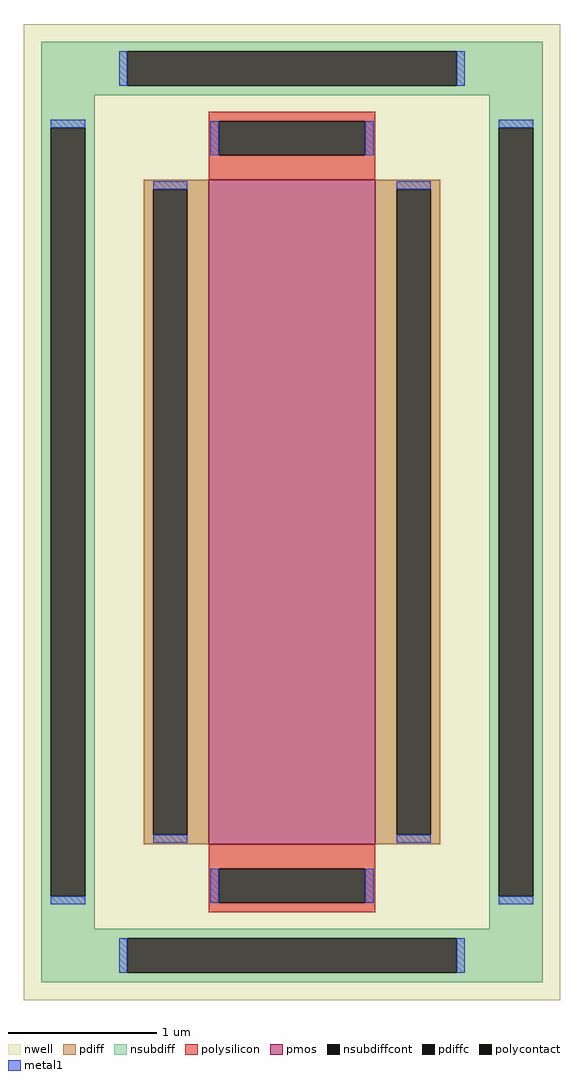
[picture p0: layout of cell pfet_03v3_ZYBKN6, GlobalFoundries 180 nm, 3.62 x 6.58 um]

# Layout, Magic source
magic
tech gf180mcuD
magscale 1 10
<< nwell >>
rect -362 -658 362 658
<< pmos >>
rect -112 -448 112 448
<< pdiff >>
rect -200 435 -112 448
rect -200 -435 -187 435
rect -141 -435 -112 435
rect -200 -448 -112 -435
rect 112 435 200 448
rect 112 -435 141 435
rect 187 -435 200 435
rect 112 -448 200 -435
<< pdiffc >>
rect -187 -435 -141 435
rect 141 -435 187 435
<< nsubdiff >>
rect -338 621 338 634
rect -338 575 -222 621
rect 222 575 338 621
rect -338 562 338 575
rect -338 518 -266 562
rect -338 -518 -325 518
rect -279 -518 -266 518
rect 266 518 338 562
rect -338 -562 -266 -518
rect 266 -518 279 518
rect 325 -518 338 518
rect 266 -562 338 -518
rect -338 -575 338 -562
rect -338 -621 -222 -575
rect 222 -621 338 -575
rect -338 -634 338 -621
<< nsubdiffcont >>
rect -222 575 222 621
rect -325 -518 -279 518
rect 279 -518 325 518
rect -222 -621 222 -575
<< polysilicon >>
rect -112 527 112 540
rect -112 481 -99 527
rect 99 481 112 527
rect -112 448 112 481
rect -112 -481 112 -448
rect -112 -527 -99 -481
rect 99 -527 112 -481
rect -112 -540 112 -527
<< polycontact >>
rect -99 481 99 527
rect -99 -527 99 -481
<< metal1 >>
rect -233 575 -222 621
rect 222 575 233 621
rect -325 518 -279 529
rect -110 481 -99 527
rect 99 481 110 527
rect 279 518 325 529
rect -187 435 -141 446
rect -187 -446 -141 -435
rect 141 435 187 446
rect 141 -446 187 -435
rect -325 -529 -279 -518
rect -110 -527 -99 -481
rect 99 -527 110 -481
rect 279 -529 325 -518
rect -233 -621 -222 -575
rect 222 -621 233 -575
<< properties >>
string FIXED_BBOX -302 -598 302 598
string gencell pfet_03v3
string library gf180mcu
string parameters w 4.48 l 1.12 m 1 nf 1 diffcov 100 polycov 100 guard 1 glc 1 grc 1 gtc 1 gbc 1 tbcov 100 rlcov 100 topc 1 botc 1 poverlap 0 doverlap 1 lmin 0.28 wmin 0.22 class mosfet full_metal 0 compatible {pfet_03v3 pfet_05v0 pfet_06v0}
<< end >>
